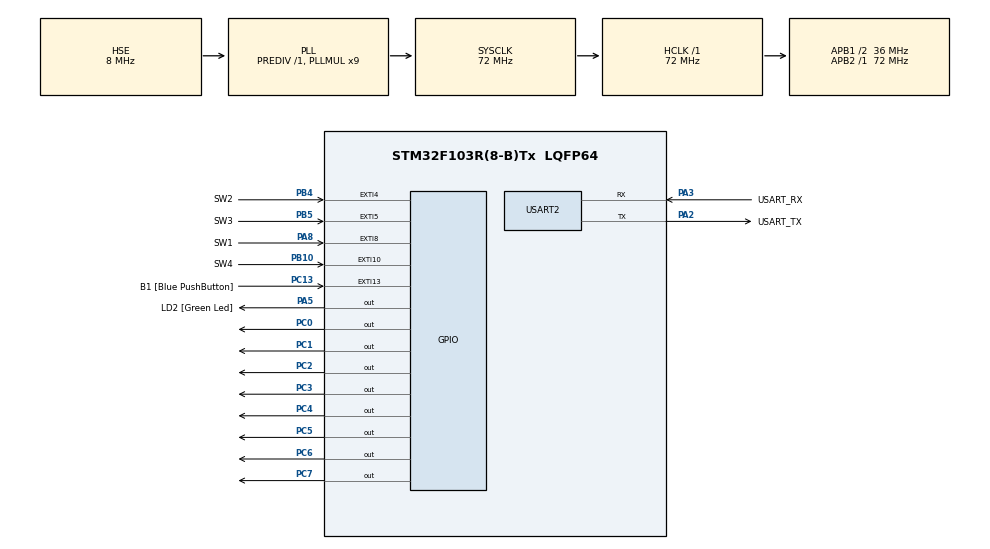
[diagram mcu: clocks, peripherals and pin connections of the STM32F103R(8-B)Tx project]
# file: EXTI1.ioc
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Mcu.Family=STM32F1
Mcu.Name=STM32F103R(8-B)Tx
Mcu.Package=LQFP64
NVIC.EXTI15_10_IRQn=true\:0\:0\:false\:false\:true\:true\:true\:true
NVIC.EXTI4_IRQn=true\:0\:0\:false\:false\:true\:true\:true\:true
NVIC.EXTI9_5_IRQn=true\:0\:0\:false\:false\:true\:true\:true\:true
NVIC.PriorityGroup=NVIC_PRIORITYGROUP_4
PA13.GPIO_Label=TMS
PA13.Mode=Serial_Wire
PA13.Signal=SYS_JTMS-SWDIO
PA14.GPIO_Label=TCK
PA14.Mode=Serial_Wire
PA14.Signal=SYS_JTCK-SWCLK
PA2.GPIO_Label=USART_TX
PA2.GPIO_Mode=GPIO_MODE_AF_PP
PA2.GPIO_PuPd=GPIO_NOPULL
PA2.GPIO_Speed=GPIO_SPEED_FREQ_LOW
PA2.Mode=Asynchronous
PA2.Signal=USART2_TX
PA3.GPIO_Label=USART_RX
PA3.GPIO_Mode=GPIO_MODE_AF_PP
PA3.GPIO_PuPd=GPIO_NOPULL
PA3.GPIO_Speed=GPIO_SPEED_FREQ_LOW
PA3.Mode=Asynchronous
PA3.Signal=USART2_RX
PA5.GPIO_Label=LD2 [Green Led]
PA5.GPIO_ModeDefaultOutputPP=GPIO_MODE_OUTPUT_PP
PA5.GPIO_PuPd=GPIO_NOPULL
PA5.GPIO_Speed=GPIO_SPEED_FREQ_LOW
PA5.Signal=GPIO_Output
PA8.GPIO_Label=SW1
PA8.GPIO_ModeDefaultEXTI=GPIO_MODE_IT_FALLING
PA8.Signal=GPXTI8
PB10.GPIO_Label=SW4
PB10.GPIO_ModeDefaultEXTI=GPIO_MODE_IT_FALLING
PB10.Signal=GPXTI10
PB3.GPIO_Label=SWO
PB3.Signal=SYS_JTDO-TRACESWO
PB4.GPIO_Label=SW2
PB4.GPIO_ModeDefaultEXTI=GPIO_MODE_IT_FALLING
PB4.Signal=GPXTI4
PB5.GPIO_Label=SW3
PB5.GPIO_ModeDefaultEXTI=GPIO_MODE_IT_FALLING
PB5.Signal=GPXTI5
PC0.GPIO_ModeDefaultOutputPP=GPIO_MODE_OUTPUT_PP
PC0.GPIO_PuPd=GPIO_NOPULL
PC0.GPIO_Speed=GPIO_SPEED_FREQ_HIGH
PC0.PinState=GPIO_PIN_RESET
PC0.Signal=GPIO_Output
PC1.GPIO_ModeDefaultOutputPP=GPIO_MODE_OUTPUT_PP
PC1.GPIO_PuPd=GPIO_NOPULL
PC1.GPIO_Speed=GPIO_SPEED_FREQ_HIGH
PC1.PinState=GPIO_PIN_RESET
PC1.Signal=GPIO_Output
PC13-TAMPER-RTC.GPIO_Label=B1 [Blue PushButton]
PC13-TAMPER-RTC.GPIO_ModeDefaultEXTI=GPIO_MODE_IT_RISING
PC13-TAMPER-RTC.GPIO_PuPd=GPIO_NOPULL
PC13-TAMPER-RTC.Signal=GPXTI13
PC14-OSC32_IN.Mode=LSE-External-Oscillator
PC14-OSC32_IN.Signal=RCC_OSC32_IN
PC15-OSC32_OUT.Mode=LSE-External-Oscillator
PC15-OSC32_OUT.Signal=RCC_OSC32_OUT
PC2.GPIO_ModeDefaultOutputPP=GPIO_MODE_OUTPUT_PP
PC2.GPIO_PuPd=GPIO_NOPULL
PC2.GPIO_Speed=GPIO_SPEED_FREQ_HIGH
PC2.PinState=GPIO_PIN_RESET
PC2.Signal=GPIO_Output
PC3.GPIO_ModeDefaultOutputPP=GPIO_MODE_OUTPUT_PP
PC3.GPIO_PuPd=GPIO_NOPULL
PC3.GPIO_Speed=GPIO_SPEED_FREQ_HIGH
PC3.PinState=GPIO_PIN_RESET
PC3.Signal=GPIO_Output
PC4.GPIO_ModeDefaultOutputPP=GPIO_MODE_OUTPUT_PP
PC4.GPIO_PuPd=GPIO_NOPULL
PC4.GPIO_Speed=GPIO_SPEED_FREQ_HIGH
PC4.PinState=GPIO_PIN_RESET
PC4.Signal=GPIO_Output
PC5.GPIO_ModeDefaultOutputPP=GPIO_MODE_OUTPUT_PP
PC5.GPIO_PuPd=GPIO_NOPULL
PC5.GPIO_Speed=GPIO_SPEED_FREQ_HIGH
PC5.PinState=GPIO_PIN_RESET
PC5.Signal=GPIO_Output
PC6.GPIO_ModeDefaultOutputPP=GPIO_MODE_OUTPUT_PP
PC6.GPIO_PuPd=GPIO_NOPULL
PC6.GPIO_Speed=GPIO_SPEED_FREQ_HIGH
PC6.PinState=GPIO_PIN_RESET
PC6.Signal=GPIO_Output
PC7.GPIO_ModeDefaultOutputPP=GPIO_MODE_OUTPUT_PP
PC7.GPIO_PuPd=GPIO_NOPULL
PC7.GPIO_Speed=GPIO_SPEED_FREQ_HIGH
PC7.PinState=GPIO_PIN_RESET
PC7.Signal=GPIO_Output
PD0-OSC_IN.Mode=HSE-External-Clock-Source
PD0-OSC_IN.Signal=RCC_OSC_IN
PD1-OSC_OUT.Mode=HSE-External-Clock-Source
PD1-OSC_OUT.Signal=RCC_OSC_OUT
ProjectManager.HeapSize=0x200
ProjectManager.StackSize=0x400
ProjectManager.TargetToolchain=STM32CubeIDE
RCC.AHBFreq_Value=72000000
RCC.APB1CLKDivider=RCC_HCLK_DIV2
RCC.APB1Freq_Value=36000000
RCC.APB1TimFreq_Value=72000000
RCC.APB2Freq_Value=72000000
RCC.APB2TimFreq_Value=72000000
RCC.HCLKFreq_Value=72000000
RCC.PLLMUL=RCC_PLL_MUL9
RCC.PLLSourceVirtual=RCC_PLLSOURCE_HSE
RCC.RTCClockSelection=RCC_RTCCLKSOURCE_LSE
RCC.SYSCLKFreq_VALUE=72000000
RCC.SYSCLKSource=RCC_SYSCLKSOURCE_PLLCLK
RCC.USBFreq_Value=72000000
USART2.VirtualMode=VM_ASYNC
board=NUCLEO-F103RB

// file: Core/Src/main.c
/* USER CODE BEGIN Header */
/**
  ******************************************************************************
  * @file           : main.c
  * @brief          : Main program body
  ******************************************************************************
  * @attention
  *
  * Copyright (c) 2022 STMicroelectronics.
  * All rights reserved.
  *
  * This software is licensed under terms that can be found in the LICENSE file
  * in the root directory of this software component.
  * If no LICENSE file comes with this software, it is provided AS-IS.
  *
  ******************************************************************************
  */
/* USER CODE END Header */
#include "main.h"

 UART_HandleTypeDef huart2;

/* USER CODE BEGIN PV */
uint8_t flag_SW1 = 0;
uint8_t flag_SW2 = 0;
uint8_t flag_SW3 = 0;
uint8_t flag_SW4 = 0;
/* USER CODE END PV */

void SystemClock_Config(void);
static void MX_GPIO_Init(void);
static void MX_USART2_UART_Init(void);

int main(void)
{

  /* MCU Configuration--------------------------------------------------------*/

  /* Reset of all peripherals, Initializes the Flash interface and the Systick. */
  HAL_Init();

  /* Configure the system clock */
  SystemClock_Config();

  /* Initialize all configured peripherals */
  MX_GPIO_Init();
  MX_USART2_UART_Init();

  /* Infinite loop */
  /* USER CODE BEGIN WHILE */
  while (1)
  {
//	  if(flag_SW1 == 1)
//	  {
//		  HAL_GPIO_TogglePin(GPIOC, GPIO_PIN_0|GPIO_PIN_1);
//		  HAL_Delay(500);
//		  HAL_GPIO_TogglePin(GPIOC, 0x03, GPIO_PIN_RESET);
//		  flag_SW1 = 0;
//	  }
//
//	  if(flag_SW2 == 1)
//	  {
//		  HAL_GPIO_TogglePin(GPIOC, GPIO_PIN_2|GPIO_PIN_3);
//		  HAL_Delay(500);
//		  HAL_GPIO_TogglePin(GPIOC, 0x0c, GPIO_PIN_RESET);
//		  flag_SW2 = 0;
//	  }
//
//	  if(flag_SW3 == 1)
//	  {
//		  HAL_GPIO_TogglePin(GPIOC, GPIO_PIN_4|GPIO_PIN_5);
//		  HAL_Delay(500);
//		  HAL_GPIO_TogglePin(GPIOC, 0x30, GPIO_PIN_RESET);
//		  flag_SW3 = 0;
//	  }
//
//	  if(flag_SW4 == 1)
//	  {
//		  HAL_GPIO_TogglePin(GPIOC, GPIO_PIN_6|GPIO_PIN_7);
//		  HAL_Delay(500);
//		  HAL_GPIO_TogglePin(GPIOC, 0xc0, GPIO_PIN_RESET);
//		  flag_SW4 = 0;
//	  }

    /* USER CODE END WHILE */

  }
}

void SystemClock_Config(void)
{
  RCC_OscInitTypeDef RCC_OscInitStruct = {0};
  RCC_ClkInitTypeDef RCC_ClkInitStruct = {0};

  /** Initializes the RCC Oscillators according to the specified parameters
  * in the RCC_OscInitTypeDef structure.
  */
  RCC_OscInitStruct.OscillatorType = RCC_OSCILLATORTYPE_HSE;
  RCC_OscInitStruct.HSEState = RCC_HSE_BYPASS;
  RCC_OscInitStruct.HSEPredivValue = RCC_HSE_PREDIV_DIV1;
  RCC_OscInitStruct.HSIState = RCC_HSI_ON;
  RCC_OscInitStruct.PLL.PLLState = RCC_PLL_ON;
  RCC_OscInitStruct.PLL.PLLSource = RCC_PLLSOURCE_HSE;
  RCC_OscInitStruct.PLL.PLLMUL = RCC_PLL_MUL9;
  if (HAL_RCC_OscConfig(&RCC_OscInitStruct) != HAL_OK)
  {
    Error_Handler();
  }

  /** Initializes the CPU, AHB and APB buses clocks
  */
  RCC_ClkInitStruct.ClockType = RCC_CLOCKTYPE_HCLK|RCC_CLOCKTYPE_SYSCLK
                              |RCC_CLOCKTYPE_PCLK1|RCC_CLOCKTYPE_PCLK2;
  RCC_ClkInitStruct.SYSCLKSource = RCC_SYSCLKSOURCE_PLLCLK;
  RCC_ClkInitStruct.AHBCLKDivider = RCC_SYSCLK_DIV1;
  RCC_ClkInitStruct.APB1CLKDivider = RCC_HCLK_DIV2;
  RCC_ClkInitStruct.APB2CLKDivider = RCC_HCLK_DIV1;

  if (HAL_RCC_ClockConfig(&RCC_ClkInitStruct, FLASH_LATENCY_2) != HAL_OK)
  {
    Error_Handler();
  }
}

static void MX_USART2_UART_Init(void)
{

  huart2.Instance = USART2;
  huart2.Init.BaudRate = 115200;
  huart2.Init.WordLength = UART_WORDLENGTH_8B;
  huart2.Init.StopBits = UART_STOPBITS_1;
  huart2.Init.Parity = UART_PARITY_NONE;
  huart2.Init.Mode = UART_MODE_TX_RX;
  huart2.Init.HwFlowCtl = UART_HWCONTROL_NONE;
  huart2.Init.OverSampling = UART_OVERSAMPLING_16;
  if (HAL_UART_Init(&huart2) != HAL_OK)
  {
    Error_Handler();
  }

}

static void MX_GPIO_Init(void)
{
  GPIO_InitTypeDef GPIO_InitStruct = {0};

  /* GPIO Ports Clock Enable */
  __HAL_RCC_GPIOC_CLK_ENABLE();
  __HAL_RCC_GPIOD_CLK_ENABLE();
  __HAL_RCC_GPIOA_CLK_ENABLE();
  __HAL_RCC_GPIOB_CLK_ENABLE();

  /*Configure GPIO pin Output Level */
  HAL_GPIO_WritePin(GPIOC, GPIO_PIN_0|GPIO_PIN_1|GPIO_PIN_2|GPIO_PIN_3
                          |GPIO_PIN_4|GPIO_PIN_5|GPIO_PIN_6|GPIO_PIN_7, GPIO_PIN_RESET);

  /*Configure GPIO pin Output Level */
  HAL_GPIO_WritePin(LD2_GPIO_Port, LD2_Pin, GPIO_PIN_RESET);

  /*Configure GPIO pin : B1_Pin */
  GPIO_InitStruct.Pin = B1_Pin;
  GPIO_InitStruct.Mode = GPIO_MODE_IT_RISING;
  GPIO_InitStruct.Pull = GPIO_NOPULL;
  HAL_GPIO_Init(B1_GPIO_Port, &GPIO_InitStruct);

  /*Configure GPIO pins : PC0 PC1 PC2 PC3
                           PC4 PC5 PC6 PC7 */
  GPIO_InitStruct.Pin = GPIO_PIN_0|GPIO_PIN_1|GPIO_PIN_2|GPIO_PIN_3
                          |GPIO_PIN_4|GPIO_PIN_5|GPIO_PIN_6|GPIO_PIN_7;
  GPIO_InitStruct.Mode = GPIO_MODE_OUTPUT_PP;
  GPIO_InitStruct.Pull = GPIO_NOPULL;
  GPIO_InitStruct.Speed = GPIO_SPEED_FREQ_HIGH;
  HAL_GPIO_Init(GPIOC, &GPIO_InitStruct);

  /*Configure GPIO pin : LD2_Pin */
  GPIO_InitStruct.Pin = LD2_Pin;
  GPIO_InitStruct.Mode = GPIO_MODE_OUTPUT_PP;
  GPIO_InitStruct.Pull = GPIO_NOPULL;
  GPIO_InitStruct.Speed = GPIO_SPEED_FREQ_LOW;
  HAL_GPIO_Init(LD2_GPIO_Port, &GPIO_InitStruct);

  /*Configure GPIO pins : SW4_Pin SW2_Pin SW3_Pin */
  GPIO_InitStruct.Pin = SW4_Pin|SW2_Pin|SW3_Pin;
  GPIO_InitStruct.Mode = GPIO_MODE_IT_FALLING;
  GPIO_InitStruct.Pull = GPIO_NOPULL;
  HAL_GPIO_Init(GPIOB, &GPIO_InitStruct);

  /*Configure GPIO pin : SW1_Pin */
  GPIO_InitStruct.Pin = SW1_Pin;
  GPIO_InitStruct.Mode = GPIO_MODE_IT_FALLING;
  GPIO_InitStruct.Pull = GPIO_NOPULL;
  HAL_GPIO_Init(SW1_GPIO_Port, &GPIO_InitStruct);

  /* EXTI interrupt init*/
  HAL_NVIC_SetPriority(EXTI4_IRQn, 0, 0);
  HAL_NVIC_EnableIRQ(EXTI4_IRQn);

  HAL_NVIC_SetPriority(EXTI9_5_IRQn, 0, 0);
  HAL_NVIC_EnableIRQ(EXTI9_5_IRQn);

  HAL_NVIC_SetPriority(EXTI15_10_IRQn, 0, 0);
  HAL_NVIC_EnableIRQ(EXTI15_10_IRQn);

}

/* USER CODE BEGIN 4 */
void HAL_GPIO_EXTI_Callback(uint16_t GPIO_Pin)
{
	  if(GPIO_Pin == SW1_Pin)
	  {
		  HAL_GPIO_TogglePin(GPIOC, GPIO_PIN_0|GPIO_PIN_1);
//		  HAL_Delay(500);
//		  HAL_GPIO_TogglePin(GPIOC, 0x03, GPIO_PIN_RESET);
		  flag_SW1 = 0;
	  }

	  if(GPIO_Pin == SW2_Pin)
	  {
		  HAL_GPIO_TogglePin(GPIOC, GPIO_PIN_2|GPIO_PIN_3);
//		  HAL_Delay(500);
//		  HAL_GPIO_TogglePin(GPIOC, 0x0c, GPIO_PIN_RESET);
		  flag_SW2 = 0;
	  }

	  if(GPIO_Pin == SW3_Pin)
	  {
		  HAL_GPIO_TogglePin(GPIOC, GPIO_PIN_4|GPIO_PIN_5);
//		  HAL_Delay(500);
//		  HAL_GPIO_TogglePin(GPIOC, 0x30, GPIO_PIN_RESET);
		  flag_SW3 = 0;
	  }

	  if(GPIO_Pin == SW4_Pin)
	  {
		  HAL_GPIO_TogglePin(GPIOC, GPIO_PIN_6|GPIO_PIN_7);
//		  HAL_Delay(500);
//		  HAL_GPIO_TogglePin(GPIOC, 0xc0, GPIO_PIN_RESET);
		  flag_SW4 = 0;
	  }
}
/* USER CODE END 4 */

void Error_Handler(void)
{
  __disable_irq();
  while (1)
  {
  }
}
